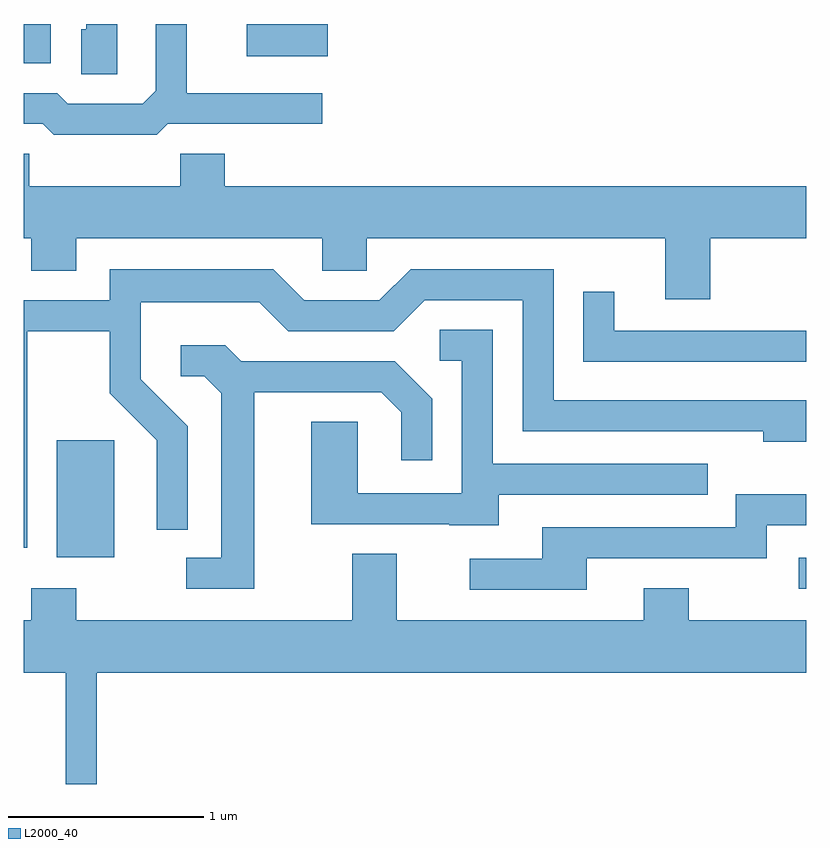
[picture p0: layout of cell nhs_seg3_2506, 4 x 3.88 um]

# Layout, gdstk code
import gdstk
lib = gdstk.Library(unit=1e-6, precision=1e-09)
def R(c, l, rs):  # rectangles x0, y0, x1, y1
    for r in rs: c.add(gdstk.rectangle(r[:2], r[2:], *l))
def P(c, l, *ps):  # polygons
    for p in ps: c.add(gdstk.Polygon(p, *l))
L2000_40 = (2000, 40)

nhs_seg3_2506 = lib.new_cell('nhs_seg3_2506')
R(nhs_seg3_2506, L2000_40, [(261.573,1233.006,261.611,1233.164), (257.781,1233.166,258.074,1233.764), (257.611,1235.691,257.749,1235.892), (258.751,1235.726,259.164,1235.892)])
P(nhs_seg3_2506, L2000_40, [(258.347,1235.381),(259.138,1235.381),(259.138,1235.539),(258.444,1235.539),(258.444,1235.892),(258.286,1235.892),(258.286,1235.552),(258.219,1235.484),(257.837,1235.484),(257.782,1235.539),(257.611,1235.539),(257.611,1235.381),(257.709,1235.381),(257.764,1235.326),(258.291,1235.326)],
  [(258.089,1235.892),(257.931,1235.892),(257.931,1235.864),(257.906,1235.864),(257.906,1235.636),(258.089,1235.636)],
  [(261.119,1234.796),(261.611,1234.796),(261.611,1235.064),(258.639,1235.064),(258.639,1235.229),(258.411,1235.229),(258.411,1235.064),(257.639,1235.064),(257.639,1235.229),(257.611,1235.229),(257.611,1234.796),(257.651,1234.796),(257.651,1234.631),(257.879,1234.631),(257.879,1234.796),(259.136,1234.796),(259.136,1234.631),(259.364,1234.631),(259.364,1234.796),(260.891,1234.796),(260.891,1234.486),(261.119,1234.486)],
  [(257.629,1234.321),(258.051,1234.321),(258.051,1234.004),(258.291,1233.764),(258.291,1233.308),(258.449,1233.308),(258.449,1233.837),(258.209,1234.077),(258.209,1234.471),(258.814,1234.471),(258.964,1234.321),(259.502,1234.321),(259.662,1234.481),(260.161,1234.481),(260.161,1233.811),(261.391,1233.811),(261.391,1233.756),(261.611,1233.756),(261.611,1233.969),(260.319,1233.969),(260.319,1234.639),(259.589,1234.639),(259.429,1234.479),(259.046,1234.479),(258.887,1234.639),(258.051,1234.639),(258.051,1234.479),(257.611,1234.479),(257.611,1233.216),(257.629,1233.216)],
  [(261.611,1234.324),(260.629,1234.324),(260.629,1234.523),(260.471,1234.523),(260.471,1234.166),(261.611,1234.166)],
  [(260.039,1233.486),(261.108,1233.486),(261.108,1233.644),(260.009,1233.644),(260.009,1234.329),(259.738,1234.329),(259.738,1234.171),(259.851,1234.171),(259.851,1233.494),(259.319,1233.494),(259.319,1233.859),(259.081,1233.859),(259.081,1233.336),(259.785,1233.336),(259.785,1233.331),(260.039,1233.331)],
  [(258.789,1234.011),(259.439,1234.011),(259.541,1233.909),(259.541,1233.663),(259.699,1233.663),(259.699,1233.977),(259.507,1234.169),(258.722,1234.169),(258.642,1234.249),(258.413,1234.249),(258.413,1234.091),(258.534,1234.091),(258.621,1234.004),(258.621,1233.164),(258.443,1233.164),(258.443,1233.006),(258.789,1233.006)],
  [(260.489,1233.161),(261.409,1233.161),(261.409,1233.331),(261.611,1233.331),(261.611,1233.489),(261.251,1233.489),(261.251,1233.319),(260.261,1233.319),(260.261,1233.159),(259.892,1233.159),(259.892,1233.001),(260.489,1233.001)],
  [(257.984,1232.576),(261.611,1232.576),(261.611,1232.844),(261.009,1232.844),(261.009,1233.009),(260.781,1233.009),(260.781,1232.844),(259.519,1232.844),(259.519,1233.184),(259.291,1233.184),(259.291,1232.844),(257.879,1232.844),(257.879,1233.009),(257.651,1233.009),(257.651,1232.844),(257.611,1232.844),(257.611,1232.576),(257.826,1232.576),(257.826,1232.008),(257.984,1232.008)])

lib.write_gds('nhs_seg3_2506.gds')
